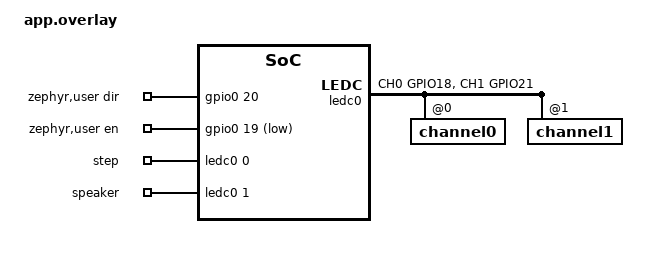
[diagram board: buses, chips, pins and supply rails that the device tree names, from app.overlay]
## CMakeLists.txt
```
cmake_minimum_required(VERSION 3.20.0)
find_package(Zephyr REQUIRED HINTS $ENV{ZEPHYR_BASE})
project(pump_app)
target_sources(app PRIVATE src/main.c src/led.c src/restart.c)
target_sources_ifdef(CONFIG_APP_SPEAKER app PRIVATE src/speaker.c)
target_sources_ifdef(CONFIG_APP_MOTOR app PRIVATE src/motor.c)
target_sources_ifdef(CONFIG_APP_ANTENNA app PRIVATE src/antenna.c)
target_sources_ifdef(CONFIG_APP_WIFI app PRIVATE src/wifi.c)
target_sources_ifdef(CONFIG_APP_UPDATE app PRIVATE src/update.c)
```

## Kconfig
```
# Application-specific Kconfig. Symbols defined here are layered on top of the
# normal Zephyr tree, which is pulled in by the trailing source line.

config APP_SPEAKER
	bool "Speaker tone shell command (LEDC PWM)"
	depends on PWM && SHELL
	help
	  Drive the speaker (XIAO header D3 / GPIO21) with a hardware LEDC PWM
	  channel: a 50% square wave at the requested frequency, generated by the
	  peripheral with no CPU work. Registers a "tone <centi-hz> <ms>" shell
	  command. The pin and channel are set in app.overlay.

config APP_MOTOR
	bool "A4988 stepper control with motor shell commands"
	depends on GPIO && PWM && SHELL
	help
	  Wire the A4988 stepper driver to the XIAO header and expose a "motor"
	  shell command group for bench debugging. STEP is D0 / GPIO0 / LEDC
	  channel 0 (the step pulse train), DIR is D1 / GPIO1, and EN is D2 /
	  GPIO2 (active-low). The pins are set in app.overlay. See DESIGN.md.

config APP_ANTENNA
	bool "Power the RF switch and select the onboard antenna"
	depends on GPIO
	help
	  The XIAO ESP32-C6 routes both the onboard antenna and the U.FL
	  connector through an RF switch (enable GPIO3, select GPIO14). A default
	  build leaves the switch unpowered, so the radio runs on a degraded
	  leakage path. This drives GPIO3 to power the switch and GPIO14 to select
	  the onboard antenna, reusing the board's rf_switch devicetree node. No
	  effect unless the radio is used. See docs/LOG.md [antenna].

config APP_WIFI
	bool "Auto-connect to a stored WiFi network at boot"
	depends on WIFI && NETWORKING && WIFI_CREDENTIALS_CONNECT_STORED
	help
	  At boot, request a connection to a network whose credentials are
	  stored in flash (NET_REQUEST_WIFI_CONNECT_STORED), retrying until the
	  WiFi interface is ready. Provision the credential once over the shell
	  ("wifi cred add ..."); it persists in the storage partition and the
	  board reconnects automatically on every reboot. The "wifi" shell
	  command group is still available for manual control. Lives in
	  app/src/wifi.c. See docs/LOG.md [wifi].

config APP_UPDATE
	bool "OTA firmware update shell command (HTTP/S -> inactive slot)"
	depends on SHELL && HTTP_CLIENT && NET_SOCKETS && DNS_RESOLVER && IMG_MANAGER && BOOTLOADER_MCUBOOT && SETTINGS
	help
	  Register an "update" shell command group that fetches a prebuilt,
	  signed image from a static endpoint (GitHub Pages by default) over
	  DNS + TLS and writes it into the slot the board is not running from,
	  then reboots so MCUboot (DirectXIP) boots the higher-version slot. The
	  base URL persists in the settings/NVS "update/url" key. TLS peer
	  verification is off for now (encrypt-only); see docs/OTA.md. Lives in
	  app/src/update.c.

config APP_UPDATE_URL
	string "Default OTA base URL"
	depends on APP_UPDATE
	default "https://tubbles.github.io/zephyr-pump"
	help
	  Base URL the board fetches from until overridden at the console with
	  "update url <url>". The board appends "/version" and
	  "/firmware-slot0.bin" or "/firmware-slot1.bin" (the variant for its
	  inactive slot).

source "Kconfig.zephyr"
```

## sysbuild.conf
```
# Sysbuild (multi-image) configuration: how the MCUboot bootloader image is
# built alongside the app. west reads this automatically for `--sysbuild` builds.
#
# The xiao_esp32c6 board already defaults the bootloader choice to MCUboot
# (boards/seeed/xiao_esp32c6/Kconfig.sysbuild), so we only pick the mode here.
#
# DirectXIP: MCUboot boots the app in place from whichever slot (slot0 or slot1)
# holds the higher image version, with NO copy/swap. The ESP32-C6 executes code
# from flash through its MMU, so "switching slots" is just a remap -- DirectXIP
# fits the hardware and avoids the flash wear and boot-time copy of the default
# swap-using-move mode. This mode also auto-generates an `app_slot1_variant`
# image to stage into the secondary slot. That variant is byte-identical to the
# slot0 image except for two bytes: the IROM/DROM flash offsets baked into its
# load header. Under MCUboot the app maps its XIP code/data from those build-time
# offsets with no runtime correction (the runtime fixup in the SoC loader is gated
# `#ifndef CONFIG_BOOTLOADER_MCUBOOT`), so an image only runs from the slot it was
# built for -- it is NOT one binary that works in either slot. See docs/LOG.md
# [directxip] [slots].
#
# Signing is left at the board default (BOOT_SIGNATURE_TYPE_NONE): the image
# carries an MCUboot header + SHA-256 but no cryptographic signature yet. Turn on
# a real BOOT_SIGNATURE_TYPE + key before trusting an update path.
SB_CONFIG_MCUBOOT_MODE_DIRECT_XIP=y
```

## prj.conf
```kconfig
# Console + printk are on by default for xiao_esp32c6 (console + shell run over
# the USB-Serial/JTAG port), so this stays minimal. Add Kconfig options here.
CONFIG_SHELL=y
CONFIG_APP_SPEAKER=y

# Motor: the PWM subsystem isn't in the board defconfig, so enable it here. With
# ledc0 "okay" this pulls in the Espressif LEDC PWM driver. GPIO is already on by
# default.
CONFIG_PWM=y
CONFIG_APP_MOTOR=y

# Antenna: power the XIAO RF switch and select the onboard antenna. A default
# build leaves the switch unpowered, so the radio runs on a degraded leakage
# path; this drives GPIO3 to power it and GPIO14 to keep the onboard antenna.
# GPIO is already on by default. See docs/LOG.md [antenna].
CONFIG_APP_ANTENNA=y

# LED: the board's yellow_led sits under a gpio-leds controller, so enable the
# LED subsystem and its GPIO driver to instantiate the device the led_*_dt API
# (in app/src/led.c) binds to.
CONFIG_LED=y
CONFIG_LED_GPIO=y

# Logging: led_start reports a failed LED init via LOG_ERR.
CONFIG_LOG=y
CONFIG_LOG_CMDS=y

# Reboot: the "restart" shell command cold-reboots via sys_reboot().
CONFIG_REBOOT=y

# WiFi: the on-chip 2.4 GHz radio, station mode, auto-connecting at boot from a
# credential stored in flash. Config mirrors the verified upstream
# samples/net/wifi/shell set (see docs/LOG.md [wifi]); CONFIG_WIFI selects
# MBEDTLS + PSA_CRYPTO (the mbedtls + tf-psa-crypto west modules), and
# CONFIG_NETWORKING pulls in ENTROPY_GENERATOR -> the board's hardware TRNG, so
# no test RNG is needed.
CONFIG_APP_WIFI=y
CONFIG_WIFI=y
CONFIG_WIFI_LOG_LEVEL_ERR=y
CONFIG_NET_L2_WIFI_SHELL=y
# Espressif WiFi STA starts DHCPv4 itself once associated.
CONFIG_ESP32_WIFI_STA_AUTO_DHCPV4=y

# Networking: IPv4 + DHCP client + TCP. IPv6 off (unused here). NET_MGMT queue
# sized 16 so a scan's burst of events does not overflow it (the #82874 setting,
# verified fine on this board).
CONFIG_NETWORKING=y
CONFIG_NET_IPV4=y
CONFIG_NET_IPV6=n
CONFIG_NET_DHCPV4=y
CONFIG_NET_TCP=y
CONFIG_NET_SHELL=y
CONFIG_NET_LOG=y
CONFIG_NET_MGMT_EVENT_QUEUE_SIZE=16
CONFIG_NET_MGMT_EVENT_QUEUE_TIMEOUT=5000

# Net buffers and thread stacks: the WiFi + IP stack needs more than the
# defaults. Values from the verified wifi/shell sample.
CONFIG_MAIN_STACK_SIZE=5200
# OTA runs the download + TLS handshake on the shell thread, and the mbedtls
# handshake is stack-hungry, so this is raised above the wifi/shell sample's 5200.
CONFIG_SHELL_STACK_SIZE=12288
CONFIG_NET_TX_STACK_SIZE=2048
CONFIG_NET_RX_STACK_SIZE=2048
CONFIG_NET_PKT_RX_COUNT=10
CONFIG_NET_PKT_TX_COUNT=10
CONFIG_NET_BUF_RX_COUNT=20
CONFIG_NET_BUF_TX_COUNT=20
CONFIG_NET_MAX_CONTEXTS=10

# Credentials: persist networks so the board connects once and auto-reconnects
# from flash across reboots and reflashes (west flash leaves the storage
# partition intact). SETTINGS/NVS backend in the board's "storage" partition;
# the PSA backend needs TF-M (ARM only), unavailable on this RISC-V part. The
# default "wifi cred" + "wifi cred auto_connect" shell commands come with it.
# GOTCHA: "wifi cred list" prints the passphrase in plaintext (see docs/LOG.md).
CONFIG_WIFI_CREDENTIALS=y
CONFIG_FLASH=y
CONFIG_FLASH_MAP=y
CONFIG_NVS=y
CONFIG_SETTINGS=y

# mDNS: answer "pump.local" so the headless board is reachable by name without a
# DHCP-lease lookup and without the router cooperating (mDNS is peer-to-peer
# multicast, independent of router DNS). The responder auto-starts and needs a
# hostname, so NET_HOSTNAME_ENABLE + NET_HOSTNAME are required; setting the
# hostname also makes the DHCP client advertise "pump" (option 12) instead of
# the default "zephyr". See docs/LOG.md [mdns].
CONFIG_NET_HOSTNAME_ENABLE=y
CONFIG_NET_HOSTNAME="pump"
CONFIG_MDNS_RESPONDER=y

# Append the last two MAC bytes (as hex) to the hostname at boot, e.g.
# "pump6820", so two boards running this firmware get distinct names. Needs the
# dynamic-hostname API (net_hostname_set); app/src/wifi.c builds the name once
# the interface MAC is up and before associating, so DHCP (option 12) and mDNS
# both advertise the final name.
CONFIG_NET_HOSTNAME_DYNAMIC=y

# DNS resolver: resolve external hostnames (e.g. the OTA image host on GitHub
# Pages) to IP addresses. This is OUTBOUND name resolution and is distinct from
# the mDNS responder above, which answers inbound "<hostname>.local" queries and
# is local-only -- mDNS cannot resolve an internet name. DNS_RESOLVER selects the
# sockets layer it needs (already on here). Verify on hardware with the built-in
# "net dns <name>" shell command (NET_SHELL is on). The OPTION_DNS_ADDRESS switch
# saves whatever DNS servers the router hands out (DHCP option 6) into the
# resolver's default context, so no static server list is needed; it is default-y
# once the resolver is on and is pinned here for clarity. See docs/LOG.md [dns].
CONFIG_DNS_RESOLVER=y
CONFIG_NET_DHCPV4_OPTION_DNS_ADDRESS=y

# OTA update: an "update" shell command fetches a signed image from a static
# endpoint (GitHub Pages) and writes it into the inactive DirectXIP slot, then
# reboots. HTTP client over a TLS socket; the resolver above turns the Pages
# hostname into an IP. IMG_MANAGER + STREAM_FLASH give flash_img the
# slot-streaming write. See app/src/update.c and docs/OTA.md.
CONFIG_APP_UPDATE=y
CONFIG_HTTP_CLIENT=y
CONFIG_NET_SOCKETS_SOCKOPT_TLS=y
CONFIG_TLS_CREDENTIALS=y
CONFIG_IMG_MANAGER=y
CONFIG_STREAM_FLASH=y
# Erase each slot page before writing it. Flash programming only clears bits, so
# without this the new image is bitwise-ANDed onto the old one, which corrupts the
# header/hash and MCUboot rejects the slot (found the hard way; see docs/LOG.md
# [ota]). Selects STREAM_FLASH_ERASE on this explicit-erase part.
CONFIG_IMG_ERASE_PROGRESSIVELY=y

# TLS client for https:// (GitHub Pages, served via the Fastly CDN). mbedtls is
# already in via WiFi. This adds the TLS-client pieces: a heap big enough for a
# 16 KB record buffer and the ECDHE+AES-GCM ciphersuites. The PSA primitives
# (GCM, SHA-2, ECDH/ECDSA, P-256, RSA verify) auto-select from the ciphersuites.
# GCM is a modern-AEAD preference over the upstream http_get overlay's CBC suite,
# not a necessity: Fastly accepts that CBC suite too (see docs/LOG.md [tls]). Peer
# verification is left OFF in code (encrypt-only) for now. See docs/OTA.md.
CONFIG_MBEDTLS_ENABLE_HEAP=y
CONFIG_MBEDTLS_HEAP_SIZE=90000
CONFIG_MBEDTLS_SSL_MAX_CONTENT_LEN=16384
CONFIG_MBEDTLS_SSL_PROTO_TLS1_2=y
CONFIG_MBEDTLS_CIPHERSUITE_TLS_ECDHE_RSA_WITH_AES_128_GCM_SHA256=y
CONFIG_MBEDTLS_CIPHERSUITE_TLS_ECDHE_ECDSA_WITH_AES_128_GCM_SHA256=y
CONFIG_MBEDTLS_CIPHERSUITE_TLS_ECDHE_RSA_WITH_AES_256_GCM_SHA384=y
CONFIG_MBEDTLS_CIPHERSUITE_TLS_ECDHE_ECDSA_WITH_AES_256_GCM_SHA384=y
```

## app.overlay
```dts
#include <zephyr/dt-bindings/gpio/gpio.h>
#include <zephyr/dt-bindings/pwm/pwm.h>

/*
 * A4988 stepper control + LEDC speaker tone on the Seeed XIAO ESP32-C6 header
 * (see DESIGN.md). The control/audio lines use the SPI2 pins (D8-D10) plus D3,
 * which keeps the only ADC-capable header pins (D0-D2) free for battery sensing
 * and I2C0 (D4/D5) free for sensors. Re-pin by editing the numbers here; the C
 * in app/src reaches everything through the zephyr,user node.
 *
 *   STEP    = D10 / GPIO18 / LEDC ch0  -- the step pulse train
 *   DIR     = D9  / GPIO20             -- rotation direction (plain out)
 *   EN      = D8  / GPIO19             -- active-low driver enable
 *   speaker = D3  / GPIO21 / LEDC ch1  -- hardware square-wave tone
 */

/*
 * Free D8-D10 (GPIO19/20/18): the board enables spi2 on them by default, but the
 * pump uses I2C + ADC, not SPI, so release the pins for DIR/EN and STEP's PWM.
 */
&spi2 {
	status = "disabled";
};

/*
 * Two LEDC channels: ch0 -> STEP (GPIO18), ch1 -> speaker (GPIO21). They sit on
 * separate timers (0 and 1) so their frequencies are independent -- a timer's
 * frequency is shared by every channel bound to it. The espressif,esp32-ledc
 * binding is #pwm-cells = <3> (channel, period, flags).
 */
&pinctrl {
	ledc0_default: ledc0_default {
		group1 {
			pinmux = <LEDC_CH0_GPIO18>, <LEDC_CH1_GPIO21>;
			output-enable;
		};
	};
};

&ledc0 {
	pinctrl-0 = <&ledc0_default>;
	pinctrl-names = "default";
	status = "okay";
	#address-cells = <1>;
	#size-cells = <0>;

	channel0@0 {
		reg = <0x0>;
		timer = <0>;
	};

	channel1@1 {
		reg = <0x1>;
		timer = <1>;
	};
};

/*
 * Expose the two PWMs (named, so each driver picks the right one) and the A4988
 * direction/enable lines through the standard zephyr,user node. EN is active-low
 * on the A4988, so GPIO_ACTIVE_LOW lets the code treat logical 1 as "driver
 * enabled". Add an external pull-up on EN so the driver stays disabled during
 * boot, before motor_init drives the pin.
 */
/ {
	zephyr,user {
		pwms = <&ledc0 0 PWM_MSEC(1) PWM_POLARITY_NORMAL>,
		       <&ledc0 1 PWM_HZ(440) PWM_POLARITY_NORMAL>;
		pwm-names = "step", "speaker";
		dir-gpios = <&gpio0 20 GPIO_ACTIVE_HIGH>;
		en-gpios = <&gpio0 19 GPIO_ACTIVE_LOW>;
	};
};
```

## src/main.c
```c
#include "led.h"

#include <zephyr/kernel.h>
#include <zephyr/drivers/led.h>
#include <zephyr/logging/log.h>

#include <app_version.h>

LOG_MODULE_REGISTER(main, CONFIG_LOG_DEFAULT_LEVEL);

int main(void)
{
	/*
	 * Both are static: the timer lives inside app_led and keeps firing after
	 * main returns, dereferencing app_led and led_spec from the ISR. Stack
	 * storage would be reclaimed on return and the timer would use freed memory.
	 */
	static struct led_dt_spec led_spec = LED_DT_SPEC_GET(DT_NODELABEL(yellow_led));
	static app_led_t app_led = {.config = {
					    .spec = &led_spec,
					    .blink_period_us = 1000000ull,
				    }};

	LOG_INF("zephyr-pump v%s starting", APP_VERSION_STRING);

	(void)led_start(&app_led);

	LOG_INF("started");

	return 0;
}
```

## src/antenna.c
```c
/*
 * Power the XIAO ESP32-C6 RF switch and select the onboard antenna.
 *
 * The board routes both the onboard ceramic antenna and the U.FL connector
 * through an RF switch: enable on GPIO3 (active-low), select on GPIO14
 * (active-high). With the switch unpowered the radio still works through a
 * leakage path, but the antenna is degraded (see docs/LOG.md [antenna]). The
 * upstream board only powers the switch via CONFIG_XIAO_ESP32C6_EXT_ANTENNA,
 * which also forces the external antenna, so drive the pins here to get a
 * powered switch with the onboard antenna. Reuses the board's rf_switch
 * devicetree node, so this stays board-agnostic.
 */

#include <zephyr/device.h>
#include <zephyr/init.h>
#include <zephyr/drivers/gpio.h>
#include <zephyr/logging/log.h>
#include <errno.h>

LOG_MODULE_REGISTER(antenna, CONFIG_LOG_DEFAULT_LEVEL);

#define RF_SWITCH_NODE DT_NODELABEL(rf_switch)

static const struct gpio_dt_spec rf_switch_enable =
	GPIO_DT_SPEC_GET(RF_SWITCH_NODE, enable_gpios);
static const struct gpio_dt_spec antenna_select = GPIO_DT_SPEC_GET(RF_SWITCH_NODE, select_gpios);

static int antenna_init(void)
{
	if (!gpio_is_ready_dt(&rf_switch_enable) || !gpio_is_ready_dt(&antenna_select)) {
		LOG_ERR("rf_switch GPIOs not ready");
		return -ENODEV;
	}

	/*
	 * enable_gpios is active-low, so OUTPUT_ACTIVE drives it low and powers the
	 * switch; select_gpios is active-high, so OUTPUT_INACTIVE drives it low and
	 * selects the onboard antenna.
	 */
	int ret = gpio_pin_configure_dt(&rf_switch_enable, GPIO_OUTPUT_ACTIVE);
	if (ret) {
		LOG_ERR("RF switch enable failed (%d)", ret);
		return ret;
	}

	ret = gpio_pin_configure_dt(&antenna_select, GPIO_OUTPUT_INACTIVE);
	if (ret) {
		LOG_ERR("antenna select failed (%d)", ret);
		return ret;
	}

	LOG_INF("RF switch powered, onboard antenna selected");
	return 0;
}

SYS_INIT(antenna_init, APPLICATION, CONFIG_APPLICATION_INIT_PRIORITY);
```

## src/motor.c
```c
/*
 * A4988 stepper driver control on the XIAO ESP32-C6 header (see DESIGN.md):
 *   STEP = D10 / GPIO18 = LEDC channel 0  -- the step pulse train,
 *   DIR  = D9  / GPIO20 (plain output)    -- rotation direction,
 *   EN   = D8  / GPIO19 (plain output)    -- active-low driver enable.
 *
 * The pins live in app.overlay and are reached through the zephyr,user node, so
 * this code is board-agnostic. Registers a "motor" shell command group for
 * bench debugging.
 */

#include <zephyr/kernel.h>
#include <zephyr/device.h>
#include <zephyr/init.h>
#include <zephyr/drivers/gpio.h>
#include <zephyr/drivers/pwm.h>
#include <zephyr/shell/shell.h>
#include <errno.h>
#include <stdlib.h>

#define MOTOR_NODE DT_PATH(zephyr_user)

static const struct pwm_dt_spec step_pwm = PWM_DT_SPEC_GET_BY_NAME(MOTOR_NODE, step);
static const struct gpio_dt_spec dir_line = GPIO_DT_SPEC_GET(MOTOR_NODE, dir_gpios);
static const struct gpio_dt_spec enable_line = GPIO_DT_SPEC_GET(MOTOR_NODE, en_gpios);

/* Last commanded state; the output pins can't be read back, so track it here so
 * "motor status" has something to report.
 */
static struct {
	bool enabled;
	int dir_level;
	uint32_t rate_hz; /* 0 when the step train is stopped */
} state;

/* Drive STEP as a 50% square wave at the given rate. The A4988 only needs a
 * ~1 us minimum high time, so half the period is always wide enough.
 */
static int start_train(uint32_t rate_hz)
{
	uint32_t period_ns = 1000000000U / rate_hz;

	return pwm_set_dt(&step_pwm, period_ns, period_ns / 2U);
}

/* Park STEP low: 0% duty produces no pulses. The period is irrelevant at zero
 * pulse width, so reuse the devicetree default.
 */
static int stop_train(void)
{
	return pwm_set_dt(&step_pwm, step_pwm.period, 0);
}

/* Finite-move timeout: parks STEP after the requested number of steps. Runs in
 * the system workqueue (thread context), so pwm_set_dt is safe here.
 */
static void stop_work_handler(struct k_work *work)
{
	ARG_UNUSED(work);
	stop_train();
	state.rate_hz = 0;
}

K_WORK_DELAYABLE_DEFINE(stop_work, stop_work_handler);

static int cmd_enable(const struct shell *sh, size_t argc, char **argv)
{
	ARG_UNUSED(argc);
	ARG_UNUSED(argv);

	int error = gpio_pin_set_dt(&enable_line, 1);

	if (error) {
		shell_error(sh, "EN set failed: %d", error);
		return error;
	}
	state.enabled = true;
	shell_print(sh, "motor enabled (EN active, holding torque on)");
	return 0;
}

static int cmd_disable(const struct shell *sh, size_t argc, char **argv)
{
	ARG_UNUSED(argc);
	ARG_UNUSED(argv);

	int error = gpio_pin_set_dt(&enable_line, 0);

	if (error) {
		shell_error(sh, "EN set failed: %d", error);
		return error;
	}
	state.enabled = false;
	shell_print(sh, "motor disabled (EN inactive, coasting)");
	return 0;
}

static int cmd_dir(const struct shell *sh, size_t argc, char **argv)
{
	ARG_UNUSED(argc);

	long level = strtol(argv[1], NULL, 10);

	if (level != 0 && level != 1) {
		shell_error(sh, "usage: motor dir <0|1>");
		return -EINVAL;
	}

	int error = gpio_pin_set_dt(&dir_line, (int)level);

	if (error) {
		shell_error(sh, "DIR set failed: %d", error);
		return error;
	}
	state.dir_level = (int)level;
	shell_print(sh, "DIR = %ld", level);
	return 0;
}

static int cmd_run(const struct shell *sh, size_t argc, char **argv)
{
	ARG_UNUSED(argc);

	long rate_hz = strtol(argv[1], NULL, 10);

	if (rate_hz <= 0) {
		shell_error(sh, "usage: motor run <hz>  (hz > 0)");
		return -EINVAL;
	}

	k_work_cancel_delayable(&stop_work);

	int error = start_train((uint32_t)rate_hz);

	if (error) {
		shell_error(sh, "PWM set failed: %d", error);
		return error;
	}
	state.rate_hz = (uint32_t)rate_hz;
	shell_print(sh, "stepping at %ld Hz", rate_hz);
	if (!state.enabled) {
		shell_warn(sh, "driver disabled; run 'motor enable' to move");
	}
	return 0;
}

static int cmd_steps(const struct shell *sh, size_t argc, char **argv)
{
	ARG_UNUSED(argc);

	long count = strtol(argv[1], NULL, 10);
	long rate_hz = strtol(argv[2], NULL, 10);

	if (count <= 0 || rate_hz <= 0) {
		shell_error(sh, "usage: motor steps <count> <hz>  (both > 0)");
		return -EINVAL;
	}

	k_work_cancel_delayable(&stop_work);

	int error = start_train((uint32_t)rate_hz);

	if (error) {
		shell_error(sh, "PWM set failed: %d", error);
		return error;
	}
	state.rate_hz = (uint32_t)rate_hz;

	/* Stop after count whole periods. Timer granularity makes this accurate to
	 * about +/-1 step, which is fine for bench debugging.
	 */
	uint64_t duration_us = (uint64_t)count * 1000000U / (uint64_t)rate_hz;

	k_work_reschedule(&stop_work, K_USEC(duration_us));

	shell_print(sh, "%ld steps at %ld Hz", count, rate_hz);
	if (!state.enabled) {
		shell_warn(sh, "driver disabled; run 'motor enable' to move");
	}
	return 0;
}

static int cmd_stop(const struct shell *sh, size_t argc, char **argv)
{
	ARG_UNUSED(argc);
	ARG_UNUSED(argv);

	k_work_cancel_delayable(&stop_work);

	int error = stop_train();

	if (error) {
		shell_error(sh, "PWM set failed: %d", error);
		return error;
	}
	state.rate_hz = 0;
	shell_print(sh, "stopped");
	return 0;
}

static int cmd_status(const struct shell *sh, size_t argc, char **argv)
{
	ARG_UNUSED(argc);
	ARG_UNUSED(argv);

	shell_print(sh, "enabled: %s", state.enabled ? "yes" : "no");
	shell_print(sh, "dir:     %d", state.dir_level);
	if (state.rate_hz) {
		shell_print(sh, "step:    running at %u Hz", state.rate_hz);
	} else {
		shell_print(sh, "step:    stopped");
	}
	return 0;
}

SHELL_STATIC_SUBCMD_SET_CREATE(
	motor_cmds,
	SHELL_CMD_ARG(enable, NULL, "Energize the driver (EN active).", cmd_enable, 1, 0),
	SHELL_CMD_ARG(disable, NULL, "De-energize the driver (EN inactive, motor coasts).",
		      cmd_disable, 1, 0),
	SHELL_CMD_ARG(dir, NULL, "Set the DIR line level.\nUsage: motor dir <0|1>", cmd_dir, 2, 0),
	SHELL_CMD_ARG(run, NULL, "Step continuously.\nUsage: motor run <hz>", cmd_run, 2, 0),
	SHELL_CMD_ARG(steps, NULL,
		      "Step a fixed count, then stop.\nUsage: motor steps <count> <hz>", cmd_steps,
		      3, 0),
	SHELL_CMD_ARG(stop, NULL, "Stop the step train.", cmd_stop, 1, 0),
	SHELL_CMD_ARG(status, NULL, "Show the last commanded motor state.", cmd_status, 1, 0),
	SHELL_SUBCMD_SET_END);

SHELL_CMD_REGISTER(motor, &motor_cmds, "A4988 stepper debugging commands", NULL);

static int motor_init(void)
{
	if (!pwm_is_ready_dt(&step_pwm) || !gpio_is_ready_dt(&dir_line) ||
	    !gpio_is_ready_dt(&enable_line)) {
		return -ENODEV;
	}

	int error = gpio_pin_configure_dt(&dir_line, GPIO_OUTPUT_INACTIVE);

	if (error) {
		return error;
	}

	/* Active-low EN: INACTIVE parks the pin high, leaving the driver disabled,
	 * so the motor is free and cool until "motor enable".
	 */
	error = gpio_pin_configure_dt(&enable_line, GPIO_OUTPUT_INACTIVE);
	if (error) {
		return error;
	}

	return stop_train();
}

SYS_INIT(motor_init, APPLICATION, CONFIG_APPLICATION_INIT_PRIORITY);
```

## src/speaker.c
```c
/*
 * Speaker tone on the XIAO ESP32-C6 header (D3 / GPIO21), driven by a hardware
 * LEDC PWM channel (channel 1, set in app.overlay).
 *
 * A tone is a 50% square wave at the requested frequency; the LEDC peripheral
 * generates it with no CPU work. A one-shot work item silences the tone after
 * the requested duration. The work runs in the system workqueue (thread
 * context), which is where pwm_set_dt is safe to call.
 */

#include <zephyr/kernel.h>
#include <zephyr/device.h>
#include <zephyr/init.h>
#include <zephyr/drivers/pwm.h>
#include <zephyr/shell/shell.h>
#include <errno.h>
#include <stdlib.h>

static const struct pwm_dt_spec speaker = PWM_DT_SPEC_GET_BY_NAME(DT_PATH(zephyr_user), speaker);

/* Silence the tone: 0% duty produces no output. The period is irrelevant at zero
 * pulse width, so reuse the devicetree default.
 */
static void speaker_silence(struct k_work *work)
{
	ARG_UNUSED(work);
	pwm_set_dt(&speaker, speaker.period, 0);
}

K_WORK_DELAYABLE_DEFINE(silence_work, speaker_silence);

static int cmd_tone(const struct shell *sh, size_t argc, char **argv)
{
	ARG_UNUSED(argc);

	if (!pwm_is_ready_dt(&speaker)) {
		shell_error(sh, "speaker PWM not ready");
		return -ENODEV;
	}

	long centi_hz = strtol(argv[1], NULL, 10);
	long duration_ms = strtol(argv[2], NULL, 10);

	if (centi_hz <= 0 || duration_ms <= 0) {
		shell_error(sh, "usage: tone <centi-hz> <ms>  (both > 0)");
		return -EINVAL;
	}

	/* freq = centi_hz / 100 Hz, so the period is 1e9 / freq ns = 1e11 / centi_hz
	 * ns. Drive a 50% square wave (pulse = half the period).
	 */
	uint32_t period_ns = (uint32_t)(100000000000ULL / (uint64_t)centi_hz);

	int error = pwm_set_dt(&speaker, period_ns, period_ns / 2U);

	if (error) {
		shell_error(sh, "PWM set failed: %d", error);
		return error;
	}

	k_work_reschedule(&silence_work, K_MSEC(duration_ms));

	shell_print(sh, "tone %ld.%02ld Hz for %ld ms", centi_hz / 100, centi_hz % 100,
		    duration_ms);
	return 0;
}

SHELL_CMD_ARG_REGISTER(tone, NULL,
		       "Play a tone on the speaker (D3, LEDC PWM).\n"
		       "Usage: tone <centi-hz> <ms>",
		       cmd_tone, 3, 0);

static int speaker_init(void)
{
	if (!pwm_is_ready_dt(&speaker)) {
		return -ENODEV;
	}
	return pwm_set_dt(&speaker, speaker.period, 0);
}

SYS_INIT(speaker_init, APPLICATION, CONFIG_APPLICATION_INIT_PRIORITY);
```

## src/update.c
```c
/*
 * OTA update over HTTP(S) for the DirectXIP A/B layout.
 *
 * A console "update" command group fetches a prebuilt, signed image from a
 * static endpoint (GitHub Pages by default) and writes it into the slot the
 * board is NOT currently running from, then reboots. MCUboot (DirectXIP) then
 * boots whichever slot holds the higher image version, so the published image
 * must carry a higher version than the running one (CI stamps that; see
 * docs/OTA.md).
 *
 * Why a slot-specific download: under DirectXIP an image only runs from the slot
 * it was built for (the IROM/DROM flash offsets are baked into its header; see
 * docs/LOG.md [directxip]). The running image knows its own slot from its
 * compiled-in CONFIG_FLASH_LOAD_OFFSET, so we fetch the variant for the other
 * slot ("firmware-slot0.bin" or "firmware-slot1.bin").
 *
 * Transport: DNS (getaddrinfo, servers from DHCP) + a TLS socket for https://.
 * TLS peer verification is OFF for now (encrypt-only, no embedded CA): the image
 * is unsigned too, so the trust model is already "trust the network". Real
 * authenticity (image signing + cert verification) is the documented next step.
 *
 * The base URL persists in the settings/NVS "update/url" key, so it survives a
 * reboot/reflash and can be repointed at the console without rebuilding.
 */

#include <zephyr/kernel.h>
#include <zephyr/init.h>
#include <zephyr/shell/shell.h>
#include <zephyr/net/socket.h>
#include <zephyr/net/net_compat.h>
#include <zephyr/net/net_ip.h>
#include <zephyr/net/http/client.h>
#include <zephyr/dfu/flash_img.h>
#include <zephyr/storage/flash_map.h>
#include <zephyr/settings/settings.h>
#include <zephyr/sys/reboot.h>
#include <zephyr/sys/byteorder.h>
#include <zephyr/logging/log.h>
#include <app_version.h>
#include <errno.h>
#include <string.h>

LOG_MODULE_REGISTER(update, CONFIG_LOG_DEFAULT_LEVEL);

#define URL_MAX        128
#define HOST_MAX       80
#define PATH_MAX       160
#define RECV_BUF_SIZE  2048
#define VERSION_BUF    96
#define CHECK_TIMEOUT_MS    (15 * 1000)
#define DOWNLOAD_TIMEOUT_MS (90 * 1000)

/* Active base URL; defaulted at build time, overridable + persisted at runtime. */
static char base_url[URL_MAX] = CONFIG_APP_UPDATE_URL;

static uint8_t recv_buf[RECV_BUF_SIZE];

/* ---- persistence (settings/NVS "update/url") ---------------------------- */

static int update_settings_set(const char *name, size_t len, settings_read_cb read_cb,
			       void *cb_arg)
{
	if (settings_name_steq(name, "url", NULL)) {
		ssize_t rc = read_cb(cb_arg, base_url, sizeof(base_url) - 1);

		if (rc > 0) {
			base_url[rc] = '\0';
		}
		return 0;
	}
	return -ENOENT;
}

SETTINGS_STATIC_HANDLER_DEFINE(update, "update", NULL, update_settings_set, NULL, NULL);

static void save_url(void)
{
	settings_save_one("update/url", base_url, strlen(base_url));
}

/* ---- slot selection ----------------------------------------------------- */

/* The running image was linked for whichever slot its CONFIG_FLASH_LOAD_OFFSET
 * matches; the OTA target is the other one.
 */
static bool running_slot0(void)
{
	return CONFIG_FLASH_LOAD_OFFSET == PARTITION_OFFSET(slot0_partition);
}

static uint8_t target_area_id(void)
{
	return running_slot0() ? PARTITION_ID(slot1_partition) : PARTITION_ID(slot0_partition);
}

static const char *target_leaf(void)
{
	return running_slot0() ? "firmware-slot1.bin" : "firmware-slot0.bin";
}

/* ---- URL parsing -------------------------------------------------------- */

static int parse_base(const char *url, bool *tls, char *host, size_t host_sz, uint16_t *port,
		      const char **prefix)
{
	const char *rest;

	if (strncmp(url, "https://", 8) == 0) {
		*tls = true;
		*port = 443;
		rest = url + 8;
	} else if (strncmp(url, "http://", 7) == 0) {
		*tls = false;
		*port = 80;
		rest = url + 7;
	} else {
		return -EINVAL;
	}

	const char *slash = strchr(rest, '/');
	size_t host_len = slash ? (size_t)(slash - rest) : strlen(rest);

	if (host_len == 0 || host_len >= host_sz) {
		return -EINVAL;
	}
	memcpy(host, rest, host_len);
	host[host_len] = '\0';
	*prefix = slash ? slash : "";
	return 0;
}

/* ---- connection --------------------------------------------------------- */

static int connect_to(bool tls, const char *host, uint16_t port, int *out_sock)
{
	struct zsock_addrinfo hints = {
		.ai_family = AF_INET,
		.ai_socktype = SOCK_STREAM,
	};
	struct zsock_addrinfo *res = NULL;

	int rc = zsock_getaddrinfo(host, NULL, &hints, &res);

	if (rc != 0 || res == NULL) {
		LOG_ERR("getaddrinfo(%s) failed: %d", host, rc);
		return -EIO;
	}
	((struct net_sockaddr_in *)res->ai_addr)->sin_port = sys_cpu_to_be16(port);

	int proto = tls ? IPPROTO_TLS_1_2 : IPPROTO_TCP;
	int sock = zsock_socket(res->ai_family, SOCK_STREAM, proto);

	if (sock < 0) {
		LOG_ERR("socket() failed: %d", errno);
		zsock_freeaddrinfo(res);
		return -EIO;
	}

	if (tls) {
		int verify = TLS_PEER_VERIFY_NONE;

		zsock_setsockopt(sock, SOL_TLS, TLS_PEER_VERIFY, &verify, sizeof(verify));
		zsock_setsockopt(sock, SOL_TLS, TLS_HOSTNAME, host, strlen(host) + 1);
	}

	rc = zsock_connect(sock, res->ai_addr, res->ai_addrlen);
	zsock_freeaddrinfo(res);
	if (rc < 0) {
		LOG_ERR("connect(%s) failed: %d", host, errno);
		zsock_close(sock);
		return -EIO;
	}

	*out_sock = sock;
	return 0;
}

/* ---- download into the inactive slot ------------------------------------ */

struct flash_sink {
	struct flash_img_context ctx;
	int err;
	int status;
	size_t written;
};

static struct flash_sink sink;

static int body_to_flash(struct http_response *rsp, enum http_final_call final, void *user_data)
{
	struct flash_sink *fs = user_data;

	if (rsp->http_status_code) {
		fs->status = rsp->http_status_code;
	}
	if (fs->err) {
		return 0;
	}
	if (fs->status && fs->status != 200) {
		/* Do not write an error page (e.g. a 404) into the slot. */
		fs->err = -EIO;
		return 0;
	}

	bool flush = (final == HTTP_DATA_FINAL);

	if (rsp->body_frag_len > 0 || flush) {
		const uint8_t *data = rsp->body_frag_start ? rsp->body_frag_start
							   : (const uint8_t *)fs;
		int rc = flash_img_buffered_write(&fs->ctx, data, rsp->body_frag_len, flush);

		if (rc) {
			fs->err = rc;
			return 0;
		}
		fs->written += rsp->body_frag_len;
	}
	return 0;
}

static int download_to_slot(const struct shell *sh)
{
	bool tls;
	char host[HOST_MAX];
	const char *prefix;
	uint16_t port;

	int rc = parse_base(base_url, &tls, host, sizeof(host), &port, &prefix);

	if (rc) {
		shell_error(sh, "bad base URL '%s'", base_url);
		return rc;
	}

	static char path[PATH_MAX];

	snprintk(path, sizeof(path), "%s/%s", prefix, target_leaf());

	uint8_t area = target_area_id();

	rc = flash_img_init_id(&sink.ctx, area);
	if (rc) {
		shell_error(sh, "flash_img_init(area %u) failed: %d", area, rc);
		return rc;
	}
	sink.err = 0;
	sink.status = 0;
	sink.written = 0;

	int sock;

	rc = connect_to(tls, host, port, &sock);
	if (rc) {
		shell_error(sh, "connect to %s failed", host);
		return rc;
	}

	struct http_request req = {
		.method = HTTP_GET,
		.url = path,
		.host = host,
		.protocol = "HTTP/1.1",
		.response = body_to_flash,
		.recv_buf = recv_buf,
		.recv_buf_len = sizeof(recv_buf),
	};

	shell_print(sh, "downloading %s%s into slot area %u ...", host, path, area);
	rc = http_client_req(sock, &req, DOWNLOAD_TIMEOUT_MS, &sink);
	zsock_close(sock);

	if (rc < 0) {
		shell_error(sh, "HTTP request failed: %d", rc);
		return rc;
	}
	if (sink.status != 200) {
		shell_error(sh, "server returned HTTP %d", sink.status);
		return -EIO;
	}
	if (sink.err) {
		shell_error(sh, "flash write failed: %d", sink.err);
		return sink.err;
	}
	if (sink.written == 0) {
		shell_error(sh, "no image data received");
		return -EIO;
	}

	shell_print(sh, "wrote %zu bytes to slot area %u", sink.written, area);
	return 0;
}

/* ---- version check ------------------------------------------------------ */

struct text_sink {
	char buf[VERSION_BUF];
	size_t len;
	int status;
};

static int body_to_text(struct http_response *rsp, enum http_final_call final, void *user_data)
{
	ARG_UNUSED(final);
	struct text_sink *ts = user_data;

	if (rsp->http_status_code) {
		ts->status = rsp->http_status_code;
	}
	size_t n = rsp->body_frag_len;

	if (n && ts->len + n < sizeof(ts->buf)) {
		memcpy(ts->buf + ts->len, rsp->body_frag_start, n);
		ts->len += n;
	}
	return 0;
}

static int fetch_version(const struct shell *sh)
{
	bool tls;
	char host[HOST_MAX];
	const char *prefix;
	uint16_t port;

	int rc = parse_base(base_url, &tls, host, sizeof(host), &port, &prefix);

	if (rc) {
		shell_error(sh, "bad base URL '%s'", base_url);
		return rc;
	}

	static char path[PATH_MAX];

	snprintk(path, sizeof(path), "%s/version", prefix);

	int sock;

	rc = connect_to(tls, host, port, &sock);
	if (rc) {
		shell_error(sh, "connect to %s failed", host);
		return rc;
	}

	struct text_sink ts = {0};
	struct http_request req = {
		.method = HTTP_GET,
		.url = path,
		.host = host,
		.protocol = "HTTP/1.1",
		.response = body_to_text,
		.recv_buf = recv_buf,
		.recv_buf_len = sizeof(recv_buf),
	};

	rc = http_client_req(sock, &req, CHECK_TIMEOUT_MS, &ts);
	zsock_close(sock);

	if (rc < 0) {
		shell_error(sh, "HTTP request failed: %d", rc);
		return rc;
	}
	if (ts.status != 200) {
		shell_error(sh, "server returned HTTP %d", ts.status);
		return -EIO;
	}

	/* Trim trailing whitespace/newline from the published version string. */
	while (ts.len > 0 && (ts.buf[ts.len - 1] == '\n' || ts.buf[ts.len - 1] == '\r' ||
			      ts.buf[ts.len - 1] == ' ')) {
		ts.len--;
	}
	ts.buf[ts.len] = '\0';

	shell_print(sh, "running: %s", APP_VERSION_STRING);
	shell_print(sh, "published: %s", ts.buf);
	return 0;
}

/* ---- shell commands ----------------------------------------------------- */

static int cmd_url(const struct shell *sh, size_t argc, char **argv)
{
	if (argc == 1) {
		shell_print(sh, "%s", base_url);
		return 0;
	}
	if (strlen(argv[1]) >= sizeof(base_url)) {
		shell_error(sh, "URL too long (max %d)", URL_MAX - 1);
		return -EINVAL;
	}
	strcpy(base_url, argv[1]);
	save_url();
	shell_print(sh, "%s", base_url);
	return 0;
}

static int cmd_check(const struct shell *sh, size_t argc, char **argv)
{
	ARG_UNUSED(argc);
	ARG_UNUSED(argv);
	return fetch_version(sh);
}

static int cmd_now(const struct shell *sh, size_t argc, char **argv)
{
	ARG_UNUSED(argc);
	ARG_UNUSED(argv);

	int rc = download_to_slot(sh);

	if (rc) {
		return rc;
	}
	shell_print(sh, "update staged; rebooting into the new slot in 1s");
	k_sleep(K_MSEC(1000));
	sys_reboot(SYS_REBOOT_COLD);
	return 0;
}

static int cmd_status(const struct shell *sh, size_t argc, char **argv)
{
	ARG_UNUSED(argc);
	ARG_UNUSED(argv);

	shell_print(sh, "running version : %s", APP_VERSION_STRING);
	shell_print(sh, "running slot    : %s", running_slot0() ? "slot0" : "slot1");
	shell_print(sh, "target on update: %s (area %u)", target_leaf(), target_area_id());
	shell_print(sh, "base url        : %s", base_url);
	return 0;
}

SHELL_STATIC_SUBCMD_SET_CREATE(update_cmds,
	SHELL_CMD_ARG(url, NULL, "Show or set the base URL: update url [<url>]", cmd_url, 1, 1),
	SHELL_CMD(check, NULL, "Fetch and print the published version", cmd_check),
	SHELL_CMD(now, NULL, "Download the inactive-slot image, flash it, reboot", cmd_now),
	SHELL_CMD(status, NULL, "Show running slot, version and URL", cmd_status),
	SHELL_SUBCMD_SET_END);

SHELL_CMD_REGISTER(update, &update_cmds, "OTA firmware update", NULL);

/* ---- load the persisted URL at boot ------------------------------------- */

static int update_init(void)
{
	settings_subsys_init();
	settings_load_subtree("update");
	return 0;
}

SYS_INIT(update_init, APPLICATION, CONFIG_APPLICATION_INIT_PRIORITY);
```

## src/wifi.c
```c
/*
 * Auto-connect to a stored WiFi network at boot.
 *
 * The credential lives in flash (provisioned once over the shell with
 * "wifi cred add ..."; see docs/LOG.md [wifi]); this asks the WiFi stack to
 * connect to it with NET_REQUEST_WIFI_CONNECT_STORED, the same request the
 * "wifi cred auto_connect" shell command issues. The request is only accepted
 * once the WiFi interface and supplicant are up, which is a little after kernel
 * boot, so a delayable work item retries until net_mgmt stops returning an
 * error (or a bounded number of tries elapses, e.g. on a board with no stored
 * credential, where the "wifi" shell remains the way to provision one).
 *
 * Association and DHCP run asynchronously; the result arrives as a management
 * event, logged here so the boot log shows whether the link came up.
 */

#include <zephyr/kernel.h>
#include <zephyr/init.h>
#include <zephyr/net/net_if.h>
#include <zephyr/net/net_mgmt.h>
#include <zephyr/net/wifi_mgmt.h>
#include <zephyr/net/hostname.h>
#include <zephyr/logging/log.h>

LOG_MODULE_REGISTER(wifi, CONFIG_LOG_DEFAULT_LEVEL);

/* ~10 s window (20 * 500 ms) for the interface and supplicant to come up. */
#define CONNECT_RETRY_DELAY K_MSEC(500)
#define CONNECT_MAX_TRIES   20

static struct net_mgmt_event_callback wifi_cb;
static int connect_tries;

/* Append the last two MAC bytes (as hex) to the base hostname, e.g. "pump6820",
 * so two boards running this firmware get distinct names. Runs once, before the
 * connect, so DHCP (option 12) and mDNS both advertise the final name. The MAC
 * is the wlan0 link address, valid as soon as the interface exists.
 */
static void apply_hostname(struct net_if *iface)
{
	static bool done;

	if (done) {
		return;
	}

	struct net_linkaddr *lladdr = net_if_get_link_addr(iface);

	if (lladdr == NULL || lladdr->len < 2) {
		return;
	}

	char name[sizeof(CONFIG_NET_HOSTNAME) + 4];
	int len = snprintk(name, sizeof(name), "%s%02x%02x", CONFIG_NET_HOSTNAME,
			   lladdr->addr[lladdr->len - 2], lladdr->addr[lladdr->len - 1]);

	if (net_hostname_set(name, len) == 0) {
		done = true;
		LOG_INF("hostname %s", name);
	}
}

static void connect_work_handler(struct k_work *work)
{
	ARG_UNUSED(work);

	struct net_if *iface = net_if_get_wifi_sta();

	if (iface != NULL) {
		apply_hostname(iface);
	}

	int ret = iface ? net_mgmt(NET_REQUEST_WIFI_CONNECT_STORED, iface, NULL, 0) : -ENODEV;

	if (ret == 0) {
		LOG_INF("connect request accepted; associating from stored credential");
		return;
	}

	if (++connect_tries < CONNECT_MAX_TRIES) {
		k_work_reschedule(k_work_delayable_from_work(work), CONNECT_RETRY_DELAY);
		return;
	}

	LOG_WRN("no stored network joined (iface not ready or no credential); "
		"use the 'wifi' shell");
}

K_WORK_DELAYABLE_DEFINE(connect_work, connect_work_handler);

static void wifi_event_handler(struct net_mgmt_event_callback *cb, uint64_t mgmt_event,
			       struct net_if *iface)
{
	ARG_UNUSED(iface);

	if (mgmt_event != NET_EVENT_WIFI_CONNECT_RESULT) {
		return;
	}

	const struct wifi_status *status = cb->info;

	if (status->status) {
		LOG_WRN("WiFi association failed (%d)", status->status);
	} else {
		LOG_INF("WiFi associated");
	}
}

static int wifi_autoconnect_init(void)
{
	net_mgmt_init_event_callback(&wifi_cb, wifi_event_handler, NET_EVENT_WIFI_CONNECT_RESULT);
	net_mgmt_add_event_callback(&wifi_cb);

	k_work_schedule(&connect_work, CONNECT_RETRY_DELAY);
	return 0;
}

SYS_INIT(wifi_autoconnect_init, APPLICATION, CONFIG_APPLICATION_INIT_PRIORITY);
```
